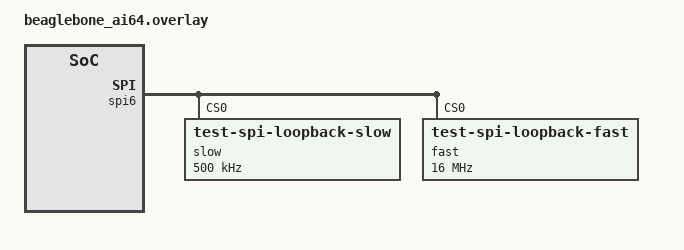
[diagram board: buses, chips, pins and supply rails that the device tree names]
&spi6 {
    slow@0 {
        compatible = "test-spi-loopback-slow";
        reg = <0>; /* Chip select 0 */
        spi-max-frequency = <500000>; /* 500 kHz */
    };

    fast@0 {
        compatible = "test-spi-loopback-fast";
        reg = <0>; /* Chip select 1 */
        spi-max-frequency = <16000000>; /* 16 MHz */
    };
};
